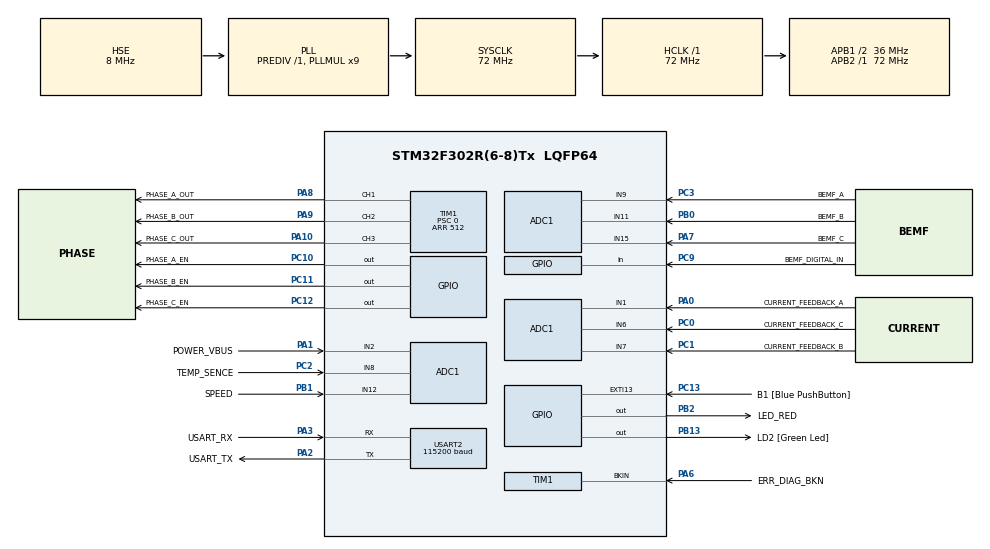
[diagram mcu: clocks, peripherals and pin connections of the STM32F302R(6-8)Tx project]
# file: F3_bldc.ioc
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ADC1.Channel-0\#ChannelRegularConversion=ADC_CHANNEL_1
ADC1.Channel-1\#ChannelRegularConversion=ADC_CHANNEL_7
ADC1.Channel-2\#ChannelRegularConversion=ADC_CHANNEL_6
ADC1.Channel-3\#ChannelRegularConversion=ADC_CHANNEL_9
ADC1.Channel-4\#ChannelRegularConversion=ADC_CHANNEL_11
ADC1.Channel-5\#ChannelRegularConversion=ADC_CHANNEL_15
ADC1.Channel-6\#ChannelRegularConversion=ADC_CHANNEL_12
ADC1.Channel-7\#ChannelRegularConversion=ADC_CHANNEL_2
ADC1.ClockPrescaler=ADC_CLOCK_SYNC_PCLK_DIV1
ADC1.ContinuousConvMode=DISABLE
ADC1.DMAContinuousRequests=ENABLE
ADC1.DiscontinuousConvMode=DISABLE
ADC1.EOCSelection=ADC_EOC_SEQ_CONV
ADC1.ExternalTrigConv=ADC_EXTERNALTRIGCONV_T1_TRGO
ADC1.ExternalTrigConvEdge=ADC_EXTERNALTRIGCONVEDGE_RISING
ADC1.NbrOfConversion=8
ADC1.NbrOfConversionFlag=1
ADC1.Offset-0\#ChannelRegularConversion=0
ADC1.Offset-1\#ChannelRegularConversion=0
ADC1.Offset-2\#ChannelRegularConversion=0
ADC1.Offset-3\#ChannelRegularConversion=0
ADC1.Offset-4\#ChannelRegularConversion=0
ADC1.Offset-5\#ChannelRegularConversion=0
ADC1.Offset-6\#ChannelRegularConversion=0
ADC1.Offset-7\#ChannelRegularConversion=0
ADC1.OffsetNumber-0\#ChannelRegularConversion=ADC_OFFSET_NONE
ADC1.OffsetNumber-1\#ChannelRegularConversion=ADC_OFFSET_NONE
ADC1.OffsetNumber-2\#ChannelRegularConversion=ADC_OFFSET_NONE
ADC1.OffsetNumber-3\#ChannelRegularConversion=ADC_OFFSET_NONE
ADC1.OffsetNumber-4\#ChannelRegularConversion=ADC_OFFSET_NONE
ADC1.OffsetNumber-5\#ChannelRegularConversion=ADC_OFFSET_NONE
ADC1.OffsetNumber-6\#ChannelRegularConversion=ADC_OFFSET_NONE
ADC1.OffsetNumber-7\#ChannelRegularConversion=ADC_OFFSET_NONE
ADC1.Rank-0\#ChannelRegularConversion=1
ADC1.Rank-1\#ChannelRegularConversion=2
ADC1.Rank-2\#ChannelRegularConversion=3
ADC1.Rank-3\#ChannelRegularConversion=4
ADC1.Rank-4\#ChannelRegularConversion=5
ADC1.Rank-5\#ChannelRegularConversion=6
ADC1.Rank-6\#ChannelRegularConversion=7
ADC1.Rank-7\#ChannelRegularConversion=8
ADC1.SamplingTime-0\#ChannelRegularConversion=ADC_SAMPLETIME_7CYCLES_5
ADC1.SamplingTime-1\#ChannelRegularConversion=ADC_SAMPLETIME_7CYCLES_5
ADC1.SamplingTime-2\#ChannelRegularConversion=ADC_SAMPLETIME_7CYCLES_5
ADC1.SamplingTime-3\#ChannelRegularConversion=ADC_SAMPLETIME_19CYCLES_5
ADC1.SamplingTime-4\#ChannelRegularConversion=ADC_SAMPLETIME_19CYCLES_5
ADC1.SamplingTime-5\#ChannelRegularConversion=ADC_SAMPLETIME_19CYCLES_5
ADC1.SamplingTime-6\#ChannelRegularConversion=ADC_SAMPLETIME_4CYCLES_5
ADC1.SamplingTime-7\#ChannelRegularConversion=ADC_SAMPLETIME_61CYCLES_5
ADC1.SamplingTimeOPAMP-1\#ChannelRegularConversion=ADC_SAMPLETIME_61CYCLES_5
ADC1.SamplingTimeOPAMP-2\#ChannelRegularConversion=ADC_SAMPLETIME_61CYCLES_5
ADC1.SamplingTimeOPAMP-3\#ChannelRegularConversion=ADC_SAMPLETIME_61CYCLES_5
ADC1.SamplingTimeOPAMP-4\#ChannelRegularConversion=ADC_SAMPLETIME_61CYCLES_5
ADC1.SamplingTimeOPAMP-5\#ChannelRegularConversion=ADC_SAMPLETIME_61CYCLES_5
ADC1.SamplingTimeOPAMP-6\#ChannelRegularConversion=ADC_SAMPLETIME_61CYCLES_5
ADC1.SamplingTimeOPAMP-7\#ChannelRegularConversion=ADC_SAMPLETIME_61CYCLES_5
ADC1.SubFamily=STM32F302x8
ADC1.master=1
Dma.ADC1.0.Direction=DMA_PERIPH_TO_MEMORY
Dma.ADC1.0.Instance=DMA1_Channel1
Dma.ADC1.0.MemDataAlignment=DMA_MDATAALIGN_HALFWORD
Dma.ADC1.0.MemInc=DMA_MINC_ENABLE
Dma.ADC1.0.Mode=DMA_CIRCULAR
Dma.ADC1.0.PeriphDataAlignment=DMA_PDATAALIGN_HALFWORD
Dma.ADC1.0.PeriphInc=DMA_PINC_DISABLE
Dma.ADC1.0.Priority=DMA_PRIORITY_LOW
Dma.Request0=ADC1
Mcu.Family=STM32F3
Mcu.Name=STM32F302R(6-8)Tx
Mcu.Package=LQFP64
NVIC.ADC1_IRQn=true\:0\:0\:false\:false\:true\:true\:true
NVIC.DMA1_Channel1_IRQn=true\:0\:0\:false\:false\:true\:false\:true
NVIC.PriorityGroup=NVIC_PRIORITYGROUP_0
NVIC.TIM1_UP_TIM16_IRQn=true\:0\:0\:false\:false\:true\:true\:true
NVIC.TIM6_DAC_IRQn=true\:0\:0\:false\:false\:true\:true\:true
PA0.GPIO_Label=CURRENT_FEEDBACK_A
PA0.Mode=IN1-Single-Ended
PA0.Signal=ADC1_IN1
PA1.GPIO_Label=POWER_VBUS
PA1.Mode=IN2-Single-Ended
PA1.Signal=ADC1_IN2
PA10.GPIO_Label=PHASE_C_OUT
PA10.Signal=S_TIM1_CH3
PA13.GPIO_Label=TMS
PA13.Mode=Serial_Wire
PA13.Signal=SYS_JTMS-SWDIO
PA14.GPIO_Label=TCK
PA14.Mode=Serial_Wire
PA14.Signal=SYS_JTCK-SWCLK
PA2.GPIO_Label=USART_TX
PA2.GPIO_Mode=GPIO_MODE_AF_PP
PA2.GPIO_PuPd=GPIO_NOPULL
PA2.GPIO_Speed=GPIO_SPEED_FREQ_LOW
PA2.Mode=Asynchronous
PA2.Signal=USART2_TX
PA3.GPIO_Label=USART_RX
PA3.GPIO_Mode=GPIO_MODE_AF_PP
PA3.GPIO_PuPd=GPIO_NOPULL
PA3.GPIO_Speed=GPIO_SPEED_FREQ_LOW
PA3.Mode=Asynchronous
PA3.Signal=USART2_RX
PA6.GPIO_Label=ERR_DIAG_BKN
PA6.GPIO_PuPd=GPIO_PULLUP
PA6.Mode=Activate-Break-Input
PA6.Signal=TIM1_BKIN
PA7.GPIO_Label=BEMF_C
PA7.Mode=IN15-Single-Ended
PA7.Signal=ADC1_IN15
PA8.GPIO_Label=PHASE_A_OUT
PA8.Signal=S_TIM1_CH1
PA9.GPIO_Label=PHASE_B_OUT
PA9.Signal=S_TIM1_CH2
PB0.GPIO_Label=BEMF_B
PB0.Mode=IN11-Single-Ended
PB0.Signal=ADC1_IN11
PB1.GPIO_Label=SPEED
PB1.Mode=IN12-Single-Ended
PB1.Signal=ADC1_IN12
PB13.GPIO_Label=LD2 [Green Led]
PB13.Signal=GPIO_Output
PB2.GPIO_Label=LED_RED
PB2.Signal=GPIO_Output
PB3.GPIO_Label=SWO
PB3.Mode=Trace_Asynchronous_SW
PB3.Signal=SYS_JTDO-TRACESWO
PC0.GPIO_Label=CURRENT_FEEDBACK_C
PC0.Signal=ADCx_IN6
PC1.GPIO_Label=CURRENT_FEEDBACK_B
PC1.Signal=ADCx_IN7
PC10.GPIO_Label=PHASE_A_EN
PC10.Signal=GPIO_Output
PC11.GPIO_Label=PHASE_B_EN
PC11.Signal=GPIO_Output
PC12.GPIO_Label=PHASE_C_EN
PC12.Signal=GPIO_Output
PC13.GPIO_Label=B1 [Blue PushButton]
PC13.GPIO_ModeDefaultEXTI=GPIO_MODE_IT_FALLING
PC13.Signal=GPXTI13
PC14\ -\ OSC32_IN.Mode=LSE-External-Oscillator
PC14\ -\ OSC32_IN.Signal=RCC_OSC32_IN
PC15\ -\ OSC32_OUT.Mode=LSE-External-Oscillator
PC15\ -\ OSC32_OUT.Signal=RCC_OSC32_OUT
PC2.GPIO_Label=TEMP_SENCE
PC2.Signal=ADCx_IN8
PC3.GPIO_Label=BEMF_A
PC3.Signal=ADCx_IN9
PC9.GPIO_Label=BEMF_DIGITAL_IN
PC9.Signal=GPIO_Input
PF0-OSC_IN.Mode=HSE-External-Clock-Source
PF0-OSC_IN.Signal=RCC_OSC_IN
PF1-OSC_OUT.Signal=RCC_OSC_OUT
ProjectManager.HeapSize=0x200
ProjectManager.StackSize=0x400
ProjectManager.TargetToolchain=STM32CubeIDE
RCC.AHBFreq_Value=72000000
RCC.APB1CLKDivider=RCC_HCLK_DIV2
RCC.APB1Freq_Value=36000000
RCC.APB1TimFreq_Value=72000000
RCC.APB2Freq_Value=72000000
RCC.APB2TimFreq_Value=72000000
RCC.CortexFreq_Value=72000000
RCC.HCLKFreq_Value=72000000
RCC.HSE_VALUE=8000000
RCC.HSI_VALUE=8000000
RCC.PLLM=8
RCC.PLLMUL=RCC_PLL_MUL9
RCC.PLLN=336
RCC.PLLP=RCC_PLLP_DIV4
RCC.PLLQ=7
RCC.PLLSourceVirtual=RCC_PLLSOURCE_HSE
RCC.SYSCLKFreq_VALUE=72000000
RCC.SYSCLKSourceVirtual=RCC_SYSCLKSOURCE_PLLCLK
RCC.USBFreq_Value=72000000
SH.ADCx_IN6.0=ADC1_IN6,IN6-Single-Ended
SH.ADCx_IN7.0=ADC1_IN7,IN7-Single-Ended
SH.ADCx_IN8.0=ADC1_IN8,IN8-Single-Ended
SH.ADCx_IN9.0=ADC1_IN9,IN9-Single-Ended
SH.S_TIM1_CH1.0=TIM1_CH1,PWM Generation1 CH1
SH.S_TIM1_CH2.0=TIM1_CH2,PWM Generation2 CH2
SH.S_TIM1_CH3.0=TIM1_CH3,PWM Generation3 CH3
TIM1.AutoReloadPreload=TIM_AUTORELOAD_PRELOAD_ENABLE
TIM1.BreakFilter=4
TIM1.BreakPolarity=TIM_BREAKPOLARITY_LOW
TIM1.BreakState=TIM_BREAK_DISABLE
TIM1.Channel-Output\ Compare6\ No\ Output=TIM_CHANNEL_6
TIM1.Channel-PWM\ Generation1\ CH1=TIM_CHANNEL_1
TIM1.Channel-PWM\ Generation2\ CH2=TIM_CHANNEL_2
TIM1.Channel-PWM\ Generation3\ CH3=TIM_CHANNEL_3
TIM1.CounterMode=TIM_COUNTERMODE_CENTERALIGNED1
TIM1.OC6Preload=ENABLE
TIM1.OCMode_6=TIM_OCMODE_TOGGLE
TIM1.Period=512
TIM1.Prescaler=0
TIM1.Pulse-Output\ Compare6\ No\ Output=500
TIM1.Pulse-PWM\ Generation1\ CH1=100
TIM1.Pulse-PWM\ Generation2\ CH2=200
TIM1.Pulse-PWM\ Generation3\ CH3=500
TIM1.RepetitionCounter=1
TIM1.TIM_MasterOutputTrigger=TIM_TRGO_UPDATE
TIM1.TIM_MasterOutputTrigger2=TIM_TRGO2_RESET
TIM1.TIM_MasterSlaveMode=TIM_MASTERSLAVEMODE_ENABLE
TIM6.Prescaler=9
USART2.BaudRate=115200
USART2.VirtualMode-Asynchronous=VM_ASYNC
VP_TIM1_VS_ClockSourceINT.Mode=Internal
VP_TIM1_VS_no_output6.Mode=Output Compare6 No Output
VP_TIM6_VS_ClockSourceINT.Mode=Enable_Timer
board=NUCLEO-F302R8

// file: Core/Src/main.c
/* USER CODE BEGIN Header */
/**
 ******************************************************************************
 * @file           : main.c
 * @brief          : Main program body
 ******************************************************************************
 * @attention
 *
 * <h2><center>&copy; Copyright (c) 2021 STMicroelectronics.
 * All rights reserved.</center></h2>
 *
 * This software component is licensed by ST under BSD 3-Clause license,
 * the "License"; You may not use this file except in compliance with the
 * License. You may obtain a copy of the License at:
 *                        opensource.org/licenses/BSD-3-Clause
 *
 ******************************************************************************
 */
/* USER CODE END Header */
#include "main.h"
#include "adc.h"
#include "dma.h"
#include "tim.h"
#include "usart.h"
#include "gpio.h"

/* USER CODE BEGIN Includes */
#include "sin.h"
#include "uart_ui.h"
adc_data_t ADC_data;
extern plot_data_t plot;
/* USER CODE END Includes */

void SystemClock_Config(void);

/* USER CODE BEGIN 0 */
void HAL_ADC_ConvCpltCallback(ADC_HandleTypeDef *hadc)
    {
    LD2_GPIO_Port->ODR ^= LD2_Pin;
    }
/* USER CODE END 0 */

int main(void)
    {

    /* MCU Configuration--------------------------------------------------------*/

    /* Reset of all peripherals, Initializes the Flash interface and the Systick. */
    HAL_Init();

    /* Configure the system clock */
    SystemClock_Config();

    /* Initialize all configured peripherals */
    MX_GPIO_Init();
    MX_DMA_Init();
    MX_USART2_UART_Init();
    MX_ADC1_Init();
    MX_TIM1_Init();
    MX_TIM6_Init();
    /* USER CODE BEGIN 2 */

    HAL_ADCEx_Calibration_Start(&hadc1, ADC_SINGLE_ENDED);
    //HAL_ADC_Start_IT(&hadc1);
    HAL_ADC_Start_DMA(&hadc1, (uint32_t*) &ADC_data, sizeof(ADC_data) / 2);
    HAL_GPIO_WritePin(PHASE_A_EN_GPIO_Port, PHASE_A_EN_Pin, 1);
    HAL_GPIO_WritePin(PHASE_B_EN_GPIO_Port, PHASE_B_EN_Pin, 1);
    HAL_GPIO_WritePin(PHASE_C_EN_GPIO_Port, PHASE_C_EN_Pin, 1);
    HAL_TIM_PWM_Start(&htim1, TIM_CHANNEL_1);
    HAL_TIM_PWM_Start(&htim1, TIM_CHANNEL_2);
    HAL_TIM_PWM_Start(&htim1, TIM_CHANNEL_3);
    HAL_TIM_OC_Start(&htim1, TIM_CHANNEL_6);
    HAL_TIM_Base_Start_IT(&htim1);
    HAL_TIM_Base_Start_IT(&htim6);
    /* USER CODE END 2 */

    /* Infinite loop */
    /* USER CODE BEGIN WHILE */
    while (1)
	{
	HAL_Delay(2000);
	while (plot.flag_uart == 0)
	    ;
//	Uart_send_str("cur_fdbk_a\t ", sizeof("cur_fdbk_a\t "));
//	Uart_send_str("cur_fdbk_b\t ", sizeof("cur_fdbk_b\t "));
//	Uart_send_str("cur_fdbk_c\t ", sizeof("cur_fdbk_c\t "));
//	Uart_send_str("bemf_a\t ", sizeof("bemf_a\t "));
//	Uart_send_str("bemf_b\t ", sizeof("bemf_b\t "));
//	Uart_send_str("bemf_c\t ", sizeof("bemf_c\t "));
	for (u16 i = 0; i < PLOT_DATA_SIZE; i++)
	    {
	    Uart_send_val(plot.vout_a[i]);
	    Uart_send_char('\t');
	    Uart_send_val(plot.vout_b[i]);
	    Uart_send_char('\t');
	    Uart_send_val(plot.vout_c[i]);
	    Uart_send_char('\t');
	    Uart_send_val(plot.cur_fdbk_a[i]);
	    Uart_send_char('\t');
	    Uart_send_val(plot.cur_fdbk_b[i]);
	    Uart_send_char('\t');
	    Uart_send_val(plot.cur_fdbk_c[i]);
	    Uart_send_char('\t');
	    Uart_send_val(plot.bemf_a[i]);
	    Uart_send_char('\t');
	    Uart_send_val(plot.bemf_b[i]);
	    Uart_send_char('\t');
	    Uart_send_val(plot.bemf_c[i]);
	    Uart_send_char('\n');
	    }
	Uart_send_char('\n');
	Uart_send_char('\n');
	Uart_send_char('\n');
	plot.flag_uart = 2;
//	Uart_send_val(plot.cur_fdbk_a[5]);
	}
    /* USER CODE END WHILE */

    }

void SystemClock_Config(void)
    {
    RCC_OscInitTypeDef RCC_OscInitStruct =
	{
	0
	};
    RCC_ClkInitTypeDef RCC_ClkInitStruct =
	{
	0
	};
    RCC_PeriphCLKInitTypeDef PeriphClkInit =
	{
	0
	};

    /** Initializes the RCC Oscillators according to the specified parameters
     * in the RCC_OscInitTypeDef structure.
     */
    RCC_OscInitStruct.OscillatorType = RCC_OSCILLATORTYPE_HSE;
    RCC_OscInitStruct.HSEState = RCC_HSE_BYPASS;
    RCC_OscInitStruct.HSEPredivValue = RCC_HSE_PREDIV_DIV1;
    RCC_OscInitStruct.HSIState = RCC_HSI_ON;
    RCC_OscInitStruct.PLL.PLLState = RCC_PLL_ON;
    RCC_OscInitStruct.PLL.PLLSource = RCC_PLLSOURCE_HSE;
    RCC_OscInitStruct.PLL.PLLMUL = RCC_PLL_MUL9;
    if (HAL_RCC_OscConfig(&RCC_OscInitStruct) != HAL_OK)
	{
	Error_Handler();
	}
    /** Initializes the CPU, AHB and APB buses clocks
     */
    RCC_ClkInitStruct.ClockType = RCC_CLOCKTYPE_HCLK | RCC_CLOCKTYPE_SYSCLK
	    | RCC_CLOCKTYPE_PCLK1 | RCC_CLOCKTYPE_PCLK2;
    RCC_ClkInitStruct.SYSCLKSource = RCC_SYSCLKSOURCE_PLLCLK;
    RCC_ClkInitStruct.AHBCLKDivider = RCC_SYSCLK_DIV1;
    RCC_ClkInitStruct.APB1CLKDivider = RCC_HCLK_DIV2;
    RCC_ClkInitStruct.APB2CLKDivider = RCC_HCLK_DIV1;

    if (HAL_RCC_ClockConfig(&RCC_ClkInitStruct, FLASH_LATENCY_2) != HAL_OK)
	{
	Error_Handler();
	}
    PeriphClkInit.PeriphClockSelection = RCC_PERIPHCLK_TIM1;
    PeriphClkInit.Tim1ClockSelection = RCC_TIM1CLK_HCLK;
    if (HAL_RCCEx_PeriphCLKConfig(&PeriphClkInit) != HAL_OK)
	{
	Error_Handler();
	}
    }

void Error_Handler(void)
    {
    __disable_irq();
    while (1)
	{
	}
    }

/************************ (C) COPYRIGHT STMicroelectronics *****END OF FILE****/
